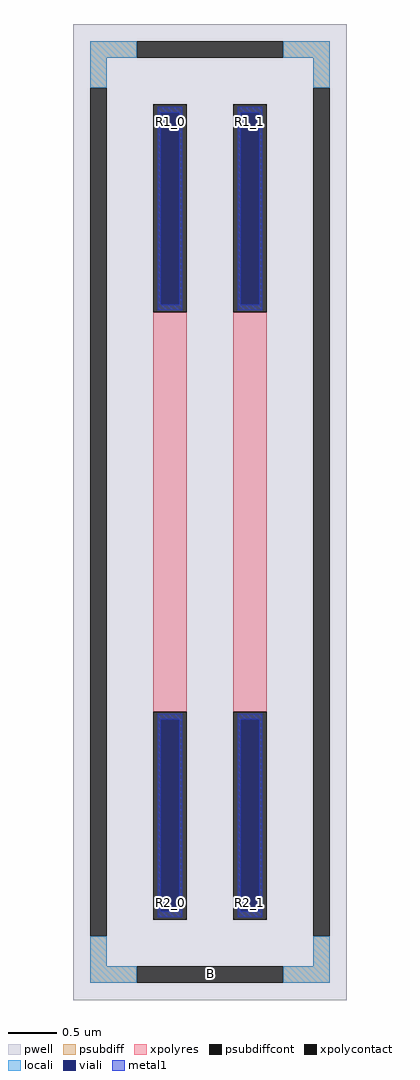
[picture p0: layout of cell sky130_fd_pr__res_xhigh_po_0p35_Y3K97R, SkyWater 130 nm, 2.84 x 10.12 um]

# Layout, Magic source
magic
tech sky130A
<< pwell >>
rect -142 -506 142 506
<< psubdiff >>
rect -124 471 -76 488
rect 76 471 124 488
rect -124 440 -107 471
rect 107 440 124 471
rect -124 -471 -107 -440
rect 107 -471 124 -440
rect -124 -488 -76 -471
rect 76 -488 124 -471
<< psubdiffcont >>
rect -76 471 76 488
rect -124 -440 -107 440
rect 107 -440 124 440
rect -76 -488 76 -471
<< xpolycontact >>
rect -59 207 -24 423
rect -59 -423 -24 -207
rect 24 207 59 423
rect 24 -423 59 -207
<< xpolyres >>
rect -59 -207 -24 207
rect 24 -207 59 207
<< locali >>
rect -124 471 -76 488
rect 76 471 124 488
rect -124 440 -107 471
rect 107 440 124 471
rect -124 -471 -107 -440
rect 107 -471 124 -440
rect -124 -488 -76 -471
rect 76 -488 124 -471
<< viali >>
rect -51 215 -32 414
rect 32 215 51 414
rect -51 -414 -32 -215
rect 32 -414 51 -215
<< metal1 >>
rect -54 414 -29 420
rect -54 215 -51 414
rect -32 215 -29 414
rect -54 209 -29 215
rect 29 414 54 420
rect 29 215 32 414
rect 51 215 54 414
rect 29 209 54 215
rect -54 -215 -29 -209
rect -54 -414 -51 -215
rect -32 -414 -29 -215
rect -54 -420 -29 -414
rect 29 -215 54 -209
rect 29 -414 32 -215
rect 51 -414 54 -215
rect 29 -420 54 -414
<< labels >>
rlabel psubdiffcont 0 -479 0 -479 0 B
port 1 nsew
rlabel xpolycontact -41 405 -41 405 0 R1_0
port 2 nsew
rlabel xpolycontact -41 -405 -41 -405 0 R2_0
port 3 nsew
rlabel xpolycontact 41 405 41 405 0 R1_1
port 4 nsew
rlabel xpolycontact 41 -405 41 -405 0 R2_1
port 5 nsew
<< properties >>
string FIXED_BBOX -115 -479 115 479
string gencell sky130_fd_pr__res_xhigh_po_0p35
string library sky130
string parameters w 0.35 l 4.3 m 1 nx 2 wmin 0.350 lmin 0.50 class resistor rho 2000 val 25.646k dummy 0 dw 0.0 term 188.2 sterm 0.0 caplen 0 wmax 0.350 guard 1 glc 1 grc 1 gtc 1 gbc 1 compatible {sky130_fd_pr__res_xhigh_po_0p35  sky130_fd_pr__res_xhigh_po_0p69 sky130_fd_pr__res_xhigh_po_1p41  sky130_fd_pr__res_xhigh_po_2p85 sky130_fd_pr__res_xhigh_po_5p73} snake 0 full_metal 1 n_guard 0 hv_guard 0 vias 1 viagb 0 viagt 0 viagl 0 viagr 0 doports 1
<< end >>
